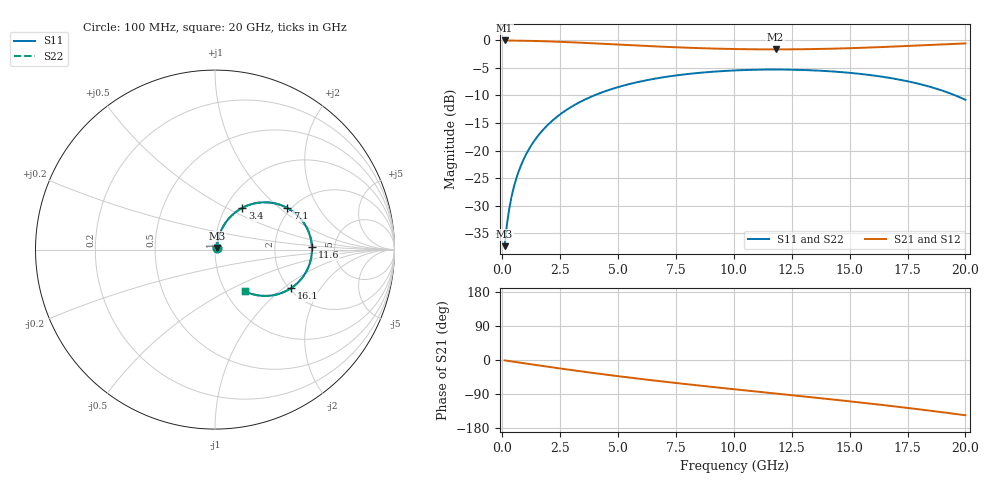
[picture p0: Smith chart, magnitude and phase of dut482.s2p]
! Touchstone file exported from HFSS 2026.1.0
!  File:  C:/ffzhzh/LocalFiles/Ansys_Project_Files/temp_train_TSV_RDL_482_1783104533_46604.aedt
!  Generated:  03:00:26 AM Jul  4, 2026
!  Design:  TSV_RDL
!  Project:  temp_train_TSV_RDL_482_1783104533_46604
! Variables:
!  h_bsmrdl = 3.82um
!  h_ox = 20um
!  h_rdl = 5um
!  h_sub = 58.42um
!  h_tmrdl = 4.67um
!  h_tsv = 58.42um
!  h_via = 3um
!  l_bsmrdl = 472.25um
!  l_sub = 2683.11um
!  l_tmrdl = 179.99um
!  m_sub = 200um
!  pitch = 54.18um
!  r_tsv = 6.33um
!  s_tmrdl = 10um
!  w_bsmrdl = 25.42um
!  w_sub = 500um
!  w_tmrdl = 23.38um
!  x_tsv_center1 = 191.68um
!  x_tsv_center2 = 689.35um
!  x_tsv_center3 = 892.72um
!  x_tsv_center4 = 1390.39um
!  x_tsv_center5 = 1593.76um
!  x_tsv_center6 = 2091.43um
# GHz S MA R 50.000000
! Terminal data exported
! Port[1] = TM_RDL1_1_T1
! Port[2] = TM_RDL5_1_T1
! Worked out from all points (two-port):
!   200 points, 100 MHz to 20 GHz, reference 50 ohm
!   highest |S21| = -0.08 dB at 100 MHz (marker M1); lowest = -1.7 dB at 11.8 GHz (marker M2)
!   |S21| within 3 dB of the highest: start of sweep to end of sweep
!   lowest |S11| = -37.3 dB at 100 MHz (marker M3), VSWR 1.03, Z = 51 + j0.965 ohm
!   |S11| at or under -10 dB: start of sweep to 3.986 GHz; 19.55 GHz to end of sweep
!   |S22| runs from -37.3 to -5.3 dB; largest |S21 - S12| = 1.8e-14
!   S11 on the Smith chart (normalised r, x): 100 MHz: 1.02, +0.02; 3.4 GHz: 1.19, +0.60; 7.1 GHz: 1.91, +1.13; 11.6 GHz: 3.35, +0.13; 16.1 GHz: 2.05, -1.14; 20 GHz: 1.23, -0.63
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0.1  0.01365 43.9  0.9903 -1.0  0.9903 -1.0  0.01365 43.9
! Gamma 0 0 0 0
! Port Impedance 50 0 50 0
0.2  0.02145 59.8  0.9897 -1.9  0.9897 -1.9  0.02145 59.8
0.3  0.02981 66.4  0.989 -2.8  0.989 -2.8  0.02981 66.4
0.4  0.0383 69.7  0.9884 -3.7  0.9884 -3.7  0.0383 69.7
0.7  0.06411 73.2  0.9865 -6.4  0.9865 -6.4  0.06411 73.2
1  0.08999 73.2  0.984 -9.1  0.984 -9.1  0.08999 73.2
1.4  0.1241 71.4  0.9797 -12.7  0.9797 -12.7  0.1241 71.4
2  0.1735 67.5  0.9713 -18.0  0.9713 -18.0  0.1735 67.5
2.6  0.2203 63.0  0.9609 -23.2  0.9609 -23.2  0.2203 63.0
3.4  0.2779 56.8  0.9448 -30.0  0.9448 -30.0  0.2779 56.8
3.5  0.2846 56.0  0.9426 -30.8  0.9426 -30.8  0.2846 56.0
5  0.3747 44.6  0.9092 -42.7  0.9092 -42.7  0.3747 44.6
6.8  0.4546 31.9  0.8716 -55.8  0.8716 -55.8  0.4546 31.9
7.1  0.4651 29.9  0.866 -57.9  0.866 -57.9  0.4651 29.9
10.1  0.5312 10.6  0.8278 -77.7  0.8278 -77.7  0.5312 10.6
11.6  0.5403 1.4  0.8221 -87.2  0.8221 -87.2  0.5403 1.4
11.8  0.5404 0.2  0.822 -88.5  0.822 -88.5  0.5404 0.2
13.4  0.5314 -9.6  0.8274 -98.6  0.8274 -98.6  0.5314 -9.6
16.1  0.4753 -26.8  0.8585 -116.5  0.8585 -116.5  0.4753 -26.8
16.7  0.4551 -30.8  0.8685 -120.7  0.8685 -120.7  0.4551 -30.8
18.5  0.3759 -43.3  0.9024 -134.0  0.9024 -134.0  0.3759 -43.3
20  0.2877 -54.2  0.9309 -145.9  0.9309 -145.9  0.2877 -54.1
